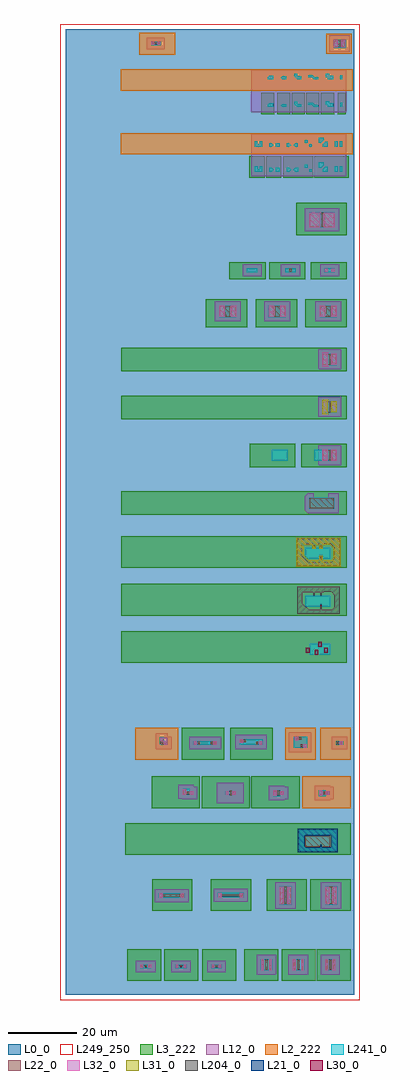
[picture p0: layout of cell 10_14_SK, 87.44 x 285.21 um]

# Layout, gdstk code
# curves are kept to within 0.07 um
from math import pi, radians
import gdstk
lib = gdstk.Library(unit=1e-6, precision=1e-09)
def R(c, l, rs):  # rectangles x0, y0, x1, y1
    for r in rs: c.add(gdstk.rectangle(r[:2], r[2:], *l))
def A(c, l, x, y, w, h, nx, ny, dx, dy):  # array of equal rectangles
    R(c, l, [(x+i*dx, y+j*dy, x+i*dx+w, y+j*dy+h) for i in range(nx) for j in range(ny)])
def P(c, l, *ps):  # polygons
    for p in ps: c.add(gdstk.Polygon(p, *l))
L0_0 = (0, 0)
L2_222 = (2, 222)
L3_222 = (3, 222)
L12_0 = (12, 0)
L21_0 = (21, 0)
L22_0 = (22, 0)
L30_0 = (30, 0)
L31_0 = (31, 0)
L32_0 = (32, 0)
L204_0 = (204, 0)
L241_0 = (241, 0)
L249_250 = (249, 250)

pcell_sdiode__121671724 = lib.new_cell('pcell_sdiode$$121671724')
R(pcell_sdiode__121671724, L0_0, [(-3.08,0,-1.68,3), (0.28,0,1.68,3)])
R(pcell_sdiode__121671724, L12_0, [(-4.48,-1.4,3.08,4.4)])
R(pcell_sdiode__121671724, L22_0, [(-1.4,0,0,3)])
R(pcell_sdiode__121671724, L32_0, [(-3.18,-0.1,-1.58,3.1), (0.18,-0.1,1.78,3.1)])
R(pcell_sdiode__121671724, L241_0, [(-3.24,-0.16,1.84,3.16)])

pcell_sdiode__121672748 = lib.new_cell('pcell_sdiode$$121672748')
A(pcell_sdiode__121672748, L0_0, -3.08, 0, 1.4, 3, 3, 1, 1.68, 0)
R(pcell_sdiode__121672748, L12_0, [(-4.48,-1.4,3.08,4.4)])
R(pcell_sdiode__121672748, L32_0, [(-3.18,-0.1,-1.58,3.1), (0.18,-0.1,1.78,3.1)])
R(pcell_sdiode__121672748, L241_0, [(-3.24,-0.16,1.84,3.16)])

pcell_sdiode__121673772 = lib.new_cell('pcell_sdiode$$121673772')
R(pcell_sdiode__121673772, L12_0, [(-4.48,-1.4,3.08,4.4)])
A(pcell_sdiode__121673772, L22_0, -3.08, 0, 1.4, 3, 3, 1, 1.68, 0)
R(pcell_sdiode__121673772, L32_0, [(-3.18,-0.1,-1.58,3.1), (0.18,-0.1,1.78,3.1)])
R(pcell_sdiode__121673772, L241_0, [(-3.24,-0.16,1.84,3.16)])

pcell_sdiode__121674796 = lib.new_cell('pcell_sdiode$$121674796')
R(pcell_sdiode__121674796, L0_0, [(-4.06,-0.16,3.44,4.16)])
R(pcell_sdiode__121674796, L12_0, [(-5.3,-1.4,4.68,5.4)])
R(pcell_sdiode__121674796, L22_0, [(-3.9,0,-0.9,4), (-0.62,0,0,4), (0.28,0,3.28,4)])
R(pcell_sdiode__121674796, L32_0, [(-4,-0.1,-0.8,4.1), (0.18,-0.1,3.38,4.1)])

pcell_sdiode__121675820 = lib.new_cell('pcell_sdiode$$121675820')
R(pcell_sdiode__121675820, L0_0, [(-0.62,0,0,0.8)])
R(pcell_sdiode__121675820, L12_0, [(-3.1,-1.4,2.48,2.2)])
R(pcell_sdiode__121675820, L22_0, [(-1.7,0,-0.9,0.8), (0.28,0,1.08,0.8)])
R(pcell_sdiode__121675820, L32_0, [(-1.8,-0.1,-0.8,0.9), (0.18,-0.1,1.18,0.9)])
R(pcell_sdiode__121675820, L241_0, [(-1.86,-0.16,1.24,0.96)])

pcell_sdiode__121676844 = lib.new_cell('pcell_sdiode$$121676844')
R(pcell_sdiode__121676844, L0_0, [(-1.8,-0.1,-0.8,0.9), (0.18,-0.1,1.18,0.9), (-1.7,0,-0.9,0.8), (0.28,0,1.08,0.8)])
R(pcell_sdiode__121676844, L12_0, [(-3.1,-1.4,2.48,2.2)])
R(pcell_sdiode__121676844, L22_0, [(-0.62,0,0,0.8)])
R(pcell_sdiode__121676844, L241_0, [(-1.86,-0.16,1.24,0.96)])

pcell_sdiode__121677868 = lib.new_cell('pcell_sdiode$$121677868')
R(pcell_sdiode__121677868, L0_0, [(-1.8,-0.1,-0.8,0.9), (0.18,-0.1,1.18,0.9), (-1.7,0,-0.9,0.8), (-0.62,0,0,0.8), (0.28,0,1.08,0.8)])
R(pcell_sdiode__121677868, L12_0, [(-3.1,-1.4,2.48,2.2)])
R(pcell_sdiode__121677868, L241_0, [(-1.86,-0.16,1.24,0.96)])

pcell_sdiode__121678892 = lib.new_cell('pcell_sdiode$$121678892')
R(pcell_sdiode__121678892, L12_0, [(-3.7,-1.4,3.08,4.4)])
R(pcell_sdiode__121678892, L22_0, [(-2.3,0,-0.9,3), (-0.62,0,0,3), (0.28,0,1.68,3)])
R(pcell_sdiode__121678892, L32_0, [(-2.4,-0.1,-0.8,3.1), (0.18,-0.1,1.78,3.1)])
R(pcell_sdiode__121678892, L241_0, [(-2.46,-0.16,1.84,3.16)])

pcell_sdiode__121679916 = lib.new_cell('pcell_sdiode$$121679916')
R(pcell_sdiode__121679916, L12_0, [(-2.02,-1.4,2.48,2.2)])
R(pcell_sdiode__121679916, L22_0, [(-0.62,0,0,0.8), (0.28,0,1.08,0.8)])
R(pcell_sdiode__121679916, L32_0, [(0.18,-0.1,1.18,0.9)])
R(pcell_sdiode__121679916, L241_0, [(-0.78,-0.16,1.24,0.96)])

pcell_sdiode__121680940 = lib.new_cell('pcell_sdiode$$121680940')
R(pcell_sdiode__121680940, L12_0, [(-2.02,-1.7,2.48,2.5)])
R(pcell_sdiode__121680940, L22_0, [(0.28,-0.3,1.08,1.1), (-0.62,0,0,0.8)])
R(pcell_sdiode__121680940, L32_0, [(0.18,-0.4,1.18,1.2)])
R(pcell_sdiode__121680940, L241_0, [(-0.78,-0.46,1.24,1.26)])

pcell_sdiode__121681964 = lib.new_cell('pcell_sdiode$$121681964')
R(pcell_sdiode__121681964, L12_0, [(-2.02,-1.4,2.48,2.8)])
R(pcell_sdiode__121681964, L22_0, [(-0.62,0,0,1.4), (0.28,0,1.08,1.4)])
R(pcell_sdiode__121681964, L32_0, [(0.18,-0.1,1.18,1.5)])
R(pcell_sdiode__121681964, L241_0, [(-0.78,-0.16,1.24,1.56)])

pcell_sdiode__121682988 = lib.new_cell('pcell_sdiode$$121682988')
R(pcell_sdiode__121682988, L12_0, [(-2.02,-1.1,2.48,2.5)])
R(pcell_sdiode__121682988, L22_0, [(-0.62,0,0,1.4), (0.28,0.3,1.08,1.1)])
R(pcell_sdiode__121682988, L32_0, [(0.18,0.2,1.18,1.2)])
R(pcell_sdiode__121682988, L241_0, [(-0.78,0.14,1.24,1.26)])

pcell_sdiode__121684012 = lib.new_cell('pcell_sdiode$$121684012')
R(pcell_sdiode__121684012, L0_0, [(-0.62,0,0,0.8)])
R(pcell_sdiode__121684012, L12_0, [(-2.02,-1.7,2.48,2.5)])
R(pcell_sdiode__121684012, L22_0, [(0.28,-0.3,1.08,1.1)])
R(pcell_sdiode__121684012, L32_0, [(0.18,-0.4,1.18,1.2)])
R(pcell_sdiode__121684012, L241_0, [(-0.78,-0.46,1.24,1.26)])

pcell_sdiode__121685036 = lib.new_cell('pcell_sdiode$$121685036')
R(pcell_sdiode__121685036, L12_0, [(-3.295,-1.4,2.68,6.4)])
R(pcell_sdiode__121685036, L22_0, [(-1.895,0,-0.895,5), (-0.615,0,0,5), (0.28,0,1.28,5)])
R(pcell_sdiode__121685036, L32_0, [(-1.995,-0.1,-0.795,5.1), (0.18,-0.1,1.38,5.1)])
R(pcell_sdiode__121685036, L241_0, [(-2.055,-0.16,1.44,5.16)])

pcell_sdiode__121595948 = lib.new_cell('pcell_sdiode$$121595948')
R(pcell_sdiode__121595948, L12_0, [(-3.305,-1.4,2.68,6.4)])
R(pcell_sdiode__121595948, L22_0, [(-1.905,0,-0.905,5), (-0.625,0,0,5), (0.28,0,1.28,5)])
R(pcell_sdiode__121595948, L32_0, [(-2.005,-0.1,-0.805,5.1), (0.18,-0.1,1.38,5.1)])
R(pcell_sdiode__121595948, L241_0, [(-2.065,-0.16,1.44,5.16)])

pcell_sdiode__121596972 = lib.new_cell('pcell_sdiode$$121596972')
R(pcell_sdiode__121596972, L12_0, [(-7.48,-1.593,2.48,2.207)])
R(pcell_sdiode__121596972, L22_0, [(-6.08,-0.193,-5.28,0.807), (0.28,-0.193,1.08,0.807), (-5,0,0,0.615)])
R(pcell_sdiode__121596972, L32_0, [(-6.18,-0.293,-5.18,0.907), (0.18,-0.293,1.18,0.907)])
R(pcell_sdiode__121596972, L241_0, [(-6.24,-0.353,1.24,0.967)])

pcell_sdiode__121597996 = lib.new_cell('pcell_sdiode$$121597996')
R(pcell_sdiode__121597996, L12_0, [(-7.48,-1.588,2.48,2.212)])
R(pcell_sdiode__121597996, L22_0, [(-6.08,-0.188,-5.28,0.812), (0.28,-0.188,1.08,0.812), (-5,0,0,0.625)])
R(pcell_sdiode__121597996, L32_0, [(-6.18,-0.288,-5.18,0.912), (0.18,-0.288,1.18,0.912)])
R(pcell_sdiode__121597996, L241_0, [(-6.24,-0.348,1.24,0.972)])

pcell_sdiode__121599020 = lib.new_cell('pcell_sdiode$$121599020')
R(pcell_sdiode__121599020, L12_0, [(-3.3,-1.4,2.68,3.4)])
R(pcell_sdiode__121599020, L22_0, [(-1.9,0,-0.9,2), (-0.62,0,0,2), (0.28,0,1.28,2)])
R(pcell_sdiode__121599020, L32_0, [(-2,-0.1,-0.8,2.1), (0.18,-0.1,1.38,2.1)])
R(pcell_sdiode__121599020, L241_0, [(-2.06,-0.16,1.44,2.16)])

pcell_sdiode__121600044 = lib.new_cell('pcell_sdiode$$121600044')
R(pcell_sdiode__121600044, L12_0, [(-2.92,-1.4,2.3,2.02)])
A(pcell_sdiode__121600044, L22_0, -1.52, 0, 0.62, 0.62, 3, 1, 0.9, 0)
R(pcell_sdiode__121600044, L32_0, [(-1.62,-0.1,-0.8,0.72), (0.18,-0.1,1,0.72)])
R(pcell_sdiode__121600044, L241_0, [(-1.68,-0.16,1.06,0.78)])

pcell_sdiode__121601068 = lib.new_cell('pcell_sdiode$$121601068')
R(pcell_sdiode__121601068, L12_0, [(-3.04,-1.4,2.42,4.4)])
A(pcell_sdiode__121601068, L22_0, -1.64, 0, 0.62, 3, 3, 1, 1.02, 0)
R(pcell_sdiode__121601068, L32_0, [(-1.74,-0.1,-0.92,3.1), (0.3,-0.1,1.12,3.1)])
R(pcell_sdiode__121601068, L241_0, [(-1.8,-0.16,1.18,3.16)])

pcell_sdiode__121602092 = lib.new_cell('pcell_sdiode$$121602092')
R(pcell_sdiode__121602092, L12_0, [(-3.2,-1.4,2.58,4.4)])
A(pcell_sdiode__121602092, L22_0, -1.8, 0, 0.62, 3, 3, 1, 1.18, 0)
R(pcell_sdiode__121602092, L32_0, [(-1.9,-0.1,-1.08,3.1), (0.46,-0.1,1.28,3.1)])
R(pcell_sdiode__121602092, L241_0, [(-1.96,-0.16,1.34,3.16)])

pcell_sdiode__121603116 = lib.new_cell('pcell_sdiode$$121603116')
R(pcell_sdiode__121603116, L12_0, [(-3.04,-1.4,2.42,2.02)])
A(pcell_sdiode__121603116, L22_0, -1.64, 0, 0.62, 0.62, 3, 1, 1.02, 0)
R(pcell_sdiode__121603116, L32_0, [(-1.74,-0.1,-0.92,0.72), (0.3,-0.1,1.12,0.72)])
R(pcell_sdiode__121603116, L241_0, [(-1.8,-0.16,1.18,0.78)])

pcell_sdiode__121604140 = lib.new_cell('pcell_sdiode$$121604140')
R(pcell_sdiode__121604140, L12_0, [(-3.2,-1.4,2.58,2.02)])
A(pcell_sdiode__121604140, L22_0, -1.8, 0, 0.62, 0.62, 3, 1, 1.18, 0)
R(pcell_sdiode__121604140, L32_0, [(-1.9,-0.1,-1.08,0.72), (0.46,-0.1,1.28,0.72)])
R(pcell_sdiode__121604140, L241_0, [(-1.96,-0.16,1.34,0.78)])

pcell_sdiode__121605164 = lib.new_cell('pcell_sdiode$$121605164')
R(pcell_sdiode__121605164, L12_0, [(-3.21,-1.4,2.59,4.4)])
A(pcell_sdiode__121605164, L22_0, -1.81, 0, 0.62, 3, 3, 1, 1.19, 0)
R(pcell_sdiode__121605164, L32_0, [(-1.91,-0.1,-1.09,3.1), (0.47,-0.1,1.29,3.1)])
R(pcell_sdiode__121605164, L241_0, [(-1.97,-0.16,1.35,3.16)])

pcell_sdiode__121606188 = lib.new_cell('pcell_sdiode$$121606188')
R(pcell_sdiode__121606188, L12_0, [(-3.21,-1.4,2.59,2.02)])
A(pcell_sdiode__121606188, L22_0, -1.81, 0, 0.62, 0.62, 3, 1, 1.19, 0)
R(pcell_sdiode__121606188, L32_0, [(-1.91,-0.1,-1.09,0.72), (0.47,-0.1,1.29,0.72)])
R(pcell_sdiode__121606188, L241_0, [(-1.97,-0.16,1.35,0.78)])

lay_width_mk__121608236 = lib.new_cell('LAY_width_mk$$121608236')
R(lay_width_mk__121608236, L241_0, [(-0.6,0,0,1.2)])
P(lay_width_mk__121608236, L241_0, [(-4.226,0),(-4.226,0.6),(-4.826,0.6),(-4.826,1.626),(-3.8,1.626),(-3.8,1.026),(-2.6,1.026),(-2.6,0)],
  [(-13.2,0),(-14.052,0.852),(-14.052,1.572),(-13.2,1.572),(-13.2,0.852),(-12,0.852),(-12,0)],
  [(-17.6,0),(-18.026,0.426),(-17.6,0.852),(-16.4,0.852),(-16.4,0)],
  [(-21.826,0),(-21.826,0.6),(-21.4,1.026),(-20.2,1.026),(-20.2,0)])
lay_width_mk__121608236.add(gdstk.FlexPath([(-7,0.3),(-8.2,0.3),(-8.8,0.9),(-10,0.9)], 0.6, ends="flush", simple_path=True, layer=241, datatype=0))  # L241_0

lay_width_mk__121609260 = lib.new_cell('LAY_width_mk$$121609260')
R(lay_width_mk__121609260, L241_0, [(-0.595,0,0,1.19)])
P(lay_width_mk__121609260, L241_0, [(-4.207,0),(-4.207,0.595),(-4.802,0.595),(-4.802,1.612),(-3.785,1.612),(-3.785,1.017),(-2.595,1.017),(-2.595,0)],
  [(-13.14,0),(-13.985,0.845),(-13.985,1.559),(-13.14,1.559),(-13.14,0.845),(-11.95,0.845),(-11.95,0)],
  [(-17.52,0),(-17.942,0.422),(-17.52,0.845),(-16.33,0.845),(-16.33,0)],
  [(-21.727,0),(-21.727,0.595),(-21.305,1.017),(-20.115,1.017),(-20.115,0)])
lay_width_mk__121609260.add(gdstk.FlexPath([(-6.975,0.298),(-8.165,0.298),(-8.76,0.893),(-9.95,0.893)], 0.596, ends="flush", simple_path=True, layer=241, datatype=0))  # L241_0

lay_space_mk__121611308 = lib.new_cell('LAY_space_mk$$121611308')
R(lay_space_mk__121611308, L241_0, [(-19.434,0,-18.298,1.136), (-9.736,0,-8.936,0.8), (-2.2,0,-1.4,1.6), (-0.8,0,0,1.6), (-10.962,1.226,-10.162,2.026)])
P(lay_space_mk__121611308, L241_0, [(-5.71,0),(-5.71,0.8),(-5,1.51),(-4.2,1.51),(-4.2,0)],
  [(-6.936,1.226),(-6.936,2.736),(-5.426,2.736),(-5.426,1.936),(-6.136,1.226)],
  [(-13.762,0),(-14.33,0.568),(-13.762,1.136),(-12.962,1.136),(-12.962,0)],
  [(-16.298,0),(-16.298,1.136),(-15.498,1.136),(-14.93,0.568),(-15.498,0)],
  [(-21.402,0),(-21.402,1.136),(-20.602,1.136),(-20.034,0.568),(-20.602,0)],
  [(-25.602,0),(-25.602,1.6),(-24.802,1.6),(-24.802,0.8),(-24.202,0.8),(-24.202,1.6),(-23.402,1.6),(-23.402,0)])

lay_space_mk__121514028 = lib.new_cell('LAY_space_mk$$121514028')
R(lay_space_mk__121514028, L241_0, [(-19.417,0,-18.281,1.136), (-9.727,0,-8.927,0.8), (-2.195,0,-1.395,1.6), (-0.8,0,0,1.6), (-10.95,1.222,-10.15,2.022)])
P(lay_space_mk__121514028, L241_0, [(-5.705,0),(-5.705,0.8),(-4.995,1.51),(-4.195,1.51),(-4.195,0)],
  [(-6.927,1.222),(-6.927,2.732),(-5.417,2.732),(-5.417,1.932),(-6.127,1.222)],
  [(-13.75,0),(-14.318,0.568),(-13.75,1.136),(-12.95,1.136),(-12.95,0)],
  [(-16.281,0),(-16.281,1.136),(-15.481,1.136),(-14.913,0.568),(-15.481,0)],
  [(-21.38,0),(-21.38,1.136),(-20.58,1.136),(-20.012,0.568),(-20.58,0)],
  [(-25.575,0),(-25.575,1.6),(-24.775,1.6),(-24.775,0.8),(-24.18,0.8),(-24.18,1.6),(-23.38,1.6),(-23.38,0)])

schottky_diode = lib.new_cell('Schottky_diode')
A(schottky_diode, L0_0, -84.44, -245.96, 84.44, 3.89, 1, 3, 0, 14.03)
A(schottky_diode, L0_0, -84.44, -214.015, 15, 10.14, 1, 10, 0, 14.03)
A(schottky_diode, L0_0, -84.44, -203.875, 84.44, 3.89, 1, 10, 0, 14.03)
A(schottky_diode, L0_0, -84.44, -73.715, 15, 6.48, 1, 4, 0, 18.52)
A(schottky_diode, L0_0, -84.44, -67.235, 84.44, 3.89, 1, 4, 0, 18.52)
A(schottky_diode, L0_0, -84.44, -63.345, 15, 8.15, 1, 3, 0, 18.52)
R(schottky_diode, L0_0, [(-84.44,-282.21,-69.44,-266.03), (-69.44,-282.21,0,-266.03), (-84.44,-266.03,0,-262.14), (-84.44,-262.14,-69.44,-245.96), (-69.44,-262.14,0,-245.96), (-84.44,-242.07,-69.44,-231.93), (-69.44,-242.07,0,-231.93), (-69.44,-242.07,0,-231.93), (-14.62,-239.175,-14.18,-238.745), (-10.16,-239.125,-9.43,-238.3), (-10.16,-235.815,-9.48,-235.485), (-12.14,-235.77,-11.505,-235.53), (-84.44,-228.04,-69.44,-217.9), (-69.44,-228.04,0,-217.9), (-69.44,-228.04,0,-217.9), (-69.44,-214.015,0,-203.875), (-69.44,-214.015,0,-203.875), (-69.44,-199.985,0,-189.845), (-69.44,-199.985,0,-189.845), (-69.44,-185.955,0,-175.815), (-69.44,-185.955,0,-175.815), (-69.44,-171.925,0,-161.785), (-69.44,-171.925,0,-161.785), (-14.62,-169.03,-14.18,-168.6), (-10.16,-168.98,-9.43,-168.155), (-10.16,-165.67,-9.48,-165.34), (-12.14,-165.625,-11.505,-165.385), (-69.44,-157.895,0,-147.755), (-69.44,-157.895,0,-147.755), (-14.62,-155,-14.18,-154.57), (-10.13,-154.94,-9.445,-154.05), (-10.225,-151.66,-9.425,-151.34), (-12.245,-151.64,-11.43,-151.38), (-69.44,-143.865,0,-133.725), (-69.44,-143.865,0,-133.725), (-11.29,-141.435,-9.55,-140.04), (-9.64,-137.615,-7.61,-136.99), (-11.88,-137.1,-9.555,-136.99), (-69.44,-129.835,0,-119.695), (-69.44,-129.835,0,-119.695), (-69.44,-115.805,0,-105.665), (-69.44,-115.805,0,-105.665), (-69.44,-101.775,0,-91.635), (-69.44,-101.775,0,-91.635), (-69.44,-87.745,0,-77.605), (-69.44,-87.745,0,-77.605), (-6.965,-84.005,-6.925,-80.94), (-23.6,-83.58,-23.55,-82.98), (-8.65,-83.58,-8.335,-82.98), (-23.33,-83.285,-23.275,-80.96), (-37.925,-82.715,-37.86,-81.775), (-23.605,-82.285,-23.565,-81.56), (-8.375,-82.285,-8.335,-81.56), (-69.44,-73.715,0,-67.235), (-69.44,-73.715,0,-67.235), (-69.44,-63.345,0,-48.715), (-10.375,-57.895,-9.72,-57.87), (-7.735,-57.895,-6.81,-57.865), (-10.345,-53.96,-10.005,-53.665), (-9.81,-53.96,-9.47,-53.665), (-12.64,-53.735,-11.49,-53.715), (-69.44,-44.825,0,-36.675), (-69.44,-36.675,0,-30.195), (-69.44,-36.675,0,-30.195), (-69.44,-26.305,0,-18.155), (-69.44,-18.155,0,-11.675), (-69.44,-18.155,0,-11.675), (-84.44,-7.785,0,0)])
P(schottky_diode, L0_0, [(-6.96,-111.23),(-6.96,-109.315),(-6.94,-109.315),(-6.94,-109.815),(-6.895,-109.815),(-6.895,-110.3),(-6.81,-110.3),(-6.81,-110.77),(-6.795,-110.77),(-6.795,-111.23)],
  [(-6.96,-97.36),(-6.96,-95.445),(-6.94,-95.445),(-6.94,-95.945),(-6.895,-95.945),(-6.895,-96.43),(-6.81,-96.43),(-6.81,-96.9),(-6.795,-96.9),(-6.795,-97.36)])
R(schottky_diode, L2_222, [(-15.26,-227.633,-1.096,-218.348), (-64.057,-213.486,-51.534,-204.201), (-20.234,-213.486,-11.325,-204.201), (-10.005,-213.486,-1.096,-204.201), (-68.304,-36.623,-0.48,-30.392), (-68.304,-18.012,-0.48,-11.781), (-62.959,-7.468,-52.314,-1.055), (-8.268,-7.15,-0.748,-1.342)])
A(schottky_diode, L3_222, -30.708, -43.432, 4.42, 6.231, 3, 1, 4.918, 0)
R(schottky_diode, L3_222, [(-66.422,-278.128,-56.468,-268.843), (-55.659,-278.128,-45.705,-268.843), (-44.535,-278.128,-34.581,-268.843), (-32.16,-278.128,-22.206,-268.843), (-21.286,-278.128,-11.332,-268.843), (-11.05,-278.128,-1.096,-268.843), (-59.156,-257.689,-47.36,-248.404), (-42.006,-257.689,-30.21,-248.404), (-25.681,-257.689,-13.885,-248.404), (-12.892,-257.689,-1.096,-248.404), (-66.931,-241.31,-1.096,-232.025), (-59.314,-227.633,-45.15,-218.348), (-44.698,-227.633,-30.534,-218.348), (-30.185,-227.633,-16.021,-218.348), (-50.517,-213.486,-37.994,-204.201), (-36.345,-213.486,-23.822,-204.201), (-68.087,-185.168,-2.252,-175.883), (-68.087,-171.407,-2.252,-162.122), (-68.087,-157.44,-2.252,-148.155), (-68.087,-141.908,-2.252,-135.078), (-30.573,-127.974,-17.303,-121.144), (-15.522,-127.974,-2.252,-121.144), (-68.087,-113.958,-2.252,-107.128), (-68.087,-99.977,-2.252,-93.147), (-43.472,-87.104,-31.286,-78.944), (-28.851,-87.104,-16.665,-78.944), (-14.438,-87.104,-2.252,-78.944), (-36.548,-73.096,-25.986,-68.111), (-24.912,-73.096,-14.35,-68.111), (-12.814,-73.096,-2.252,-68.111), (-17.065,-60.302,-2.252,-50.805), (-16.421,-43.432,-12.001,-37.201), (-11.696,-43.432,-7.276,-37.201), (-7.018,-43.432,-1.617,-37.201), (-27.272,-24.821,-23.41,-18.59), (-22.6,-24.821,-18.738,-18.59), (-18.361,-24.821,-14.499,-18.59), (-14.165,-24.821,-10.303,-18.59), (-9.796,-24.821,-5.934,-18.59), (-4.913,-24.821,-2.601,-18.59)])
R(schottky_diode, L12_0, [(-40.315,-226.185,-32.41,-220.225), (-19.17,-211.245,-12.585,-205.49), (-48.1,-210.41,-39.165,-206.81), (-34.825,-210.41,-25.58,-206.255), (-30.1,-42.98,-2.41,-30.61), (-30.1,-24.3,-2.41,-11.93)])
P(schottky_diode, L12_0, [(-13.7,-141.44),(-14.505,-140.635),(-14.505,-136.48),(-13.665,-135.64),(-11.84,-135.64),(-11.84,-137.04),(-9.585,-137.04),(-9.585,-137.585),(-7.65,-137.585),(-7.65,-135.64),(-4.625,-135.64),(-4.625,-141.44)])
P(schottky_diode, L21_0, [(-16.515,-240.565),(-16.515,-233.68),(-14.57,-233.68),(-14.57,-238.825),(-14.25,-239.145),(-10.025,-239.145),(-10.025,-238.36),(-9.565,-238.36),(-9.565,-239.145),(-6.94,-239.145),(-6.85,-239.055),(-6.85,-235.605),(-6.95,-235.505),(-9.565,-235.505),(-9.565,-235.66),(-10.025,-235.66),(-10.025,-235.505),(-11.58,-235.505),(-11.58,-235.665),(-12.04,-235.665),(-12.04,-235.505),(-14.57,-235.505),(-14.57,-233.68),(-4.915,-233.68),(-4.915,-240.565)])
R(schottky_diode, L22_0, [(-14.41,-238.985,-7.01,-235.665), (-13.105,-140.04,-6.025,-137.04), (-21.625,-83.985,-20.22,-80.985), (-6.665,-83.985,-5.27,-80.985), (-23.58,-83.55,-23.56,-82.99), (-8.63,-83.55,-8.61,-82.99), (-38,-82.655,-37.72,-81.8)])
P(schottky_diode, L22_0, [(-10.03,-83.985),(-10.03,-80.985),(-8.63,-80.985),(-8.63,-81.57),(-8.635,-81.57),(-8.635,-82.27),(-8.63,-82.27),(-8.63,-83.985)],
  [(-24.98,-83.985),(-24.98,-80.985),(-23.58,-80.985),(-23.58,-81.57),(-23.585,-81.57),(-23.585,-82.27),(-23.58,-82.27),(-23.58,-83.985)],
  [(-23.3,-83.985),(-23.3,-83.265),(-23.295,-83.265),(-23.295,-81.91),(-23.305,-81.91),(-23.305,-80.985),(-21.9,-80.985),(-21.9,-83.985)],
  [(-16.76,-156.83),(-16.76,-148.915),(-15.21,-148.915),(-15.21,-154.01),(-13.61,-155.61),(-10.025,-155.61),(-10.025,-154.185),(-9.565,-154.185),(-9.565,-155.61),(-6.67,-155.61),(-5.84,-154.78),(-5.84,-151.535),(-6.8,-150.575),(-9.565,-150.58),(-9.565,-151.485),(-10.025,-151.485),(-10.025,-150.575),(-11.58,-150.575),(-11.58,-151.49),(-12.04,-151.49),(-12.04,-150.575),(-15.21,-150.575),(-15.21,-148.915),(-4.3,-148.915),(-4.3,-156.83)])
R(schottky_diode, L30_0, [(-11.64,-182.87,-10.585,-181.405), (-14.18,-182.23,-13.125,-180.765), (-8.805,-182.23,-7.75,-180.765), (-10.6,-180.435,-9.545,-178.97)])
P(schottky_diode, L31_0, [(-9.35,-112.565),(-9.35,-108.23),(-7.685,-108.23),(-7.685,-108.77),(-7.75,-108.835),(-7.75,-111.925),(-7.67,-112.005),(-7.67,-112.565)],
  [(-6.77,-111.985),(-6.77,-111.7),(-6.79,-111.7),(-6.79,-111.225),(-6.795,-111.225),(-6.795,-110.775),(-6.82,-110.775),(-6.82,-110.31),(-6.9,-110.31),(-6.9,-109.82),(-6.95,-109.82),(-6.95,-109.33),(-6.77,-109.33),(-6.77,-108.785),(-5.17,-108.785),(-5.17,-111.985)],
  [(-17.06,-157.13),(-17.06,-148.615),(-14.795,-148.615),(-14.795,-153.771),(-13.381,-155.185),(-10.325,-155.185),(-10.325,-153.885),(-9.265,-153.885),(-9.265,-155.185),(-6.669,-155.185),(-6.14,-154.656),(-6.14,-151.654),(-6.919,-150.875),(-9.265,-150.88),(-9.265,-151.785),(-10.325,-151.785),(-10.325,-150.875),(-11.28,-150.875),(-11.28,-151.79),(-12.34,-151.79),(-12.34,-150.875),(-14.795,-150.875),(-14.795,-148.615),(-4,-148.615),(-4,-157.13)])
R(schottky_diode, L32_0, [(-25.08,-84.085,-23.46,-80.885), (-8.53,-84.085,-8.51,-80.885)])
P(schottky_diode, L32_0, [(-6.77,-98.115),(-6.77,-97.83),(-6.79,-97.83),(-6.79,-97.355),(-6.795,-97.355),(-6.795,-96.905),(-6.82,-96.905),(-6.82,-96.44),(-6.9,-96.44),(-6.9,-95.95),(-6.95,-95.95),(-6.95,-95.46),(-6.77,-95.46),(-6.77,-94.915),(-5.17,-94.915),(-5.17,-98.115)],
  [(-9.35,-98.695),(-9.35,-94.36),(-7.685,-94.36),(-7.685,-94.9),(-7.75,-94.965),(-7.75,-98.055),(-7.67,-98.135),(-7.67,-98.695)],
  [(-55.715,-209.11),(-55.715,-208.03),(-56.795,-208.03),(-56.795,-207.03),(-54.715,-207.03),(-54.715,-209.11)])
P(schottky_diode, L204_0, [(-16.76,-170.86),(-16.76,-162.945),(-15.31,-162.945),(-15.31,-167.71),(-13.28,-169.74),(-10.025,-169.74),(-10.025,-168.215),(-9.565,-168.215),(-9.565,-169.74),(-6.63,-169.74),(-5.84,-168.95),(-5.84,-165.42),(-6.655,-164.605),(-9.565,-164.61),(-9.565,-165.515),(-10.025,-165.515),(-10.025,-164.605),(-11.58,-164.605),(-11.58,-165.52),(-12.04,-165.52),(-12.04,-164.605),(-15.31,-164.605),(-15.31,-162.945),(-4.3,-162.945),(-4.3,-170.86)])
R(schottky_diode, L241_0, [(-16.145,-240.23,-5.23,-234.025), (-17.72,-210.005,-13.825,-206.73), (-45.875,-209.17,-41.335,-208.05), (-33.585,-209.17,-26.82,-207.495), (-13.125,-182.87,-7.01,-179.55), (-14.41,-168.84,-7.01,-165.52), (-14.41,-154.81,-7.01,-151.49), (-13.265,-140.2,-5.865,-136.88), (-24.105,-126.17,-19.515,-122.85), (-11.715,-126.17,-7.125,-122.85)])
P(schottky_diode, L241_0, [(-13.22,-57.885),(-13.22,-53.565),(-12.635,-53.565),(-12.635,-53.725),(-11.5,-53.725),(-11.5,-53.565),(-10.245,-53.565),(-10.245,-53.895),(-9.505,-53.895),(-9.505,-53.565),(-5.82,-53.565),(-5.72,-53.665),(-5.72,-57.795),(-5.81,-57.885)])
schottky_diode.add(gdstk.FlexPath([(-5.76,-53.605),(-5.895,-53.74)], 0.04, ends="flush", simple_path=True, layer=0, datatype=0))  # L0_0
schottky_diode.add(gdstk.FlexPath([(-7.535,-97.985),(-7.69,-98.14)], 0.1, ends="flush", simple_path=True, layer=0, datatype=0))  # L0_0
schottky_diode.add(gdstk.FlexPath([(-7.535,-111.855),(-7.69,-112.01)], 0.1, ends="flush", simple_path=True, layer=0, datatype=0))  # L0_0
schottky_diode.add(gdstk.FlexPath([(-13.025,-137.11),(-14.165,-135.97)], 0.2, ends="flush", simple_path=True, layer=0, datatype=0))  # L0_0
schottky_diode.add(gdstk.FlexPath([(-7.04,-151.52),(-6.43,-150.91)], 0.1, ends="flush", simple_path=True, layer=0, datatype=0))  # L0_0
schottky_diode.add(gdstk.FlexPath([(-7.04,-165.55),(-6.43,-164.94)], 0.1, ends="flush", simple_path=True, layer=0, datatype=0))  # L0_0
schottky_diode.add(gdstk.FlexPath([(-7.04,-235.695),(-6.88,-235.535)], 0.1, ends="flush", simple_path=True, layer=0, datatype=0))  # L0_0
schottky_diode.add(gdstk.Reference(pcell_sdiode__121671724, (-6.95,-83.985)))
schottky_diode.add(gdstk.Reference(pcell_sdiode__121672748, (-21.9,-83.985)))
schottky_diode.add(gdstk.Reference(pcell_sdiode__121673772, (-36.32,-83.985)))
schottky_diode.add(gdstk.Reference(pcell_sdiode__121674796, (-9.16,-57.725)))
schottky_diode.add(gdstk.Reference(pcell_sdiode__121675820, (-6.95,-70.86)))
schottky_diode.add(gdstk.Reference(pcell_sdiode__121676844, (-18.375,-70.86)))
schottky_diode.add(gdstk.Reference(pcell_sdiode__121677868, (-29.595,-70.86)))
schottky_diode.add(gdstk.Reference(pcell_sdiode__121678892, (-6.95,-98.015)))
schottky_diode.add(gdstk.Reference(pcell_sdiode__121678892, (-6.95,-111.885)))
schottky_diode.add(gdstk.Reference(pcell_sdiode__121678892, (-6.95,-126.01)))
schottky_diode.add(gdstk.Reference(pcell_sdiode__121679916, (-4.555,-209.01)))
schottky_diode.add(gdstk.Reference(pcell_sdiode__121679916, (-41.445,-209.01)))
schottky_diode.add(gdstk.Reference(pcell_sdiode__121679916, (-45.845,-209.01), rotation=pi, x_reflection=True))
schottky_diode.add(gdstk.Reference(pcell_sdiode__121679916, (-28.06,-209.01)))
schottky_diode.add(gdstk.Reference(pcell_sdiode__121679916, (-32.345,-208.455), rotation=pi, x_reflection=True))
schottky_diode.add(gdstk.Reference(pcell_sdiode__121679916, (-15.065,-209.845)))
schottky_diode.add(gdstk.Reference(pcell_sdiode__121679916, (-16.24,-207.69), rotation=pi, x_reflection=True))
schottky_diode.add(gdstk.Reference(pcell_sdiode__121679916, (-8.545,-223.64)))
schottky_diode.add(gdstk.Reference(pcell_sdiode__121679916, (-21.895,-223.64)))
schottky_diode.add(gdstk.Reference(pcell_sdiode__121679916, (-35.89,-223.64)))
schottky_diode.add(gdstk.Reference(pcell_sdiode__121679916, (-48.355,-223.64)))
schottky_diode.add(gdstk.Reference(pcell_sdiode__121679916, (-56.695,-208.21), rotation=pi/2, x_reflection=True))
schottky_diode.add(gdstk.Reference(pcell_sdiode__121679916, (-55.895,-209.01)))
schottky_diode.add(gdstk.Reference(pcell_sdiode__121680940, (-9.165,-223.64), rotation=pi, x_reflection=True))
schottky_diode.add(gdstk.Reference(pcell_sdiode__121681964, (-22.515,-223.94), rotation=pi, x_reflection=True))
schottky_diode.add(gdstk.Reference(pcell_sdiode__121682988, (-36.51,-223.94), rotation=pi, x_reflection=True))
schottky_diode.add(gdstk.Reference(pcell_sdiode__121684012, (-48.975,-223.26), rotation=pi, x_reflection=True))
schottky_diode.add(gdstk.Reference(pcell_sdiode__121685036, (-6.54,-255.65)))
schottky_diode.add(gdstk.Reference(pcell_sdiode__121595948, (-19.84,-255.65)))
schottky_diode.add(gdstk.Reference(pcell_sdiode__121596972, (-33.665,-253.36)))
schottky_diode.add(gdstk.Reference(pcell_sdiode__121597996, (-50.91,-253.49)))
schottky_diode.add(gdstk.Reference(pcell_sdiode__121599020, (-4.05,-5.22)))
schottky_diode.add(gdstk.Reference(pcell_sdiode__121600044, (-57.72,-4.48)))
schottky_diode.add(gdstk.Reference(pcell_sdiode__121601068, (-6.76,-274.915)))
schottky_diode.add(gdstk.Reference(pcell_sdiode__121602092, (-16.085,-274.915)))
schottky_diode.add(gdstk.Reference(pcell_sdiode__121603116, (-39.995,-274.2)))
schottky_diode.add(gdstk.Reference(pcell_sdiode__121604140, (-50.38,-274.2)))
schottky_diode.add(gdstk.Reference(pcell_sdiode__121605164, (-25.4,-274.915)))
schottky_diode.add(gdstk.Reference(pcell_sdiode__121606188, (-60.67,-274.2)))
schottky_diode.add(gdstk.Reference(lay_width_mk__121608236, (-3.55,-14.64)))
schottky_diode.add(gdstk.Reference(lay_width_mk__121609260, (-3.55,-22.725)))
schottky_diode.add(gdstk.Reference(lay_space_mk__121611308, (-3.55,-34.43)))
schottky_diode.add(gdstk.Reference(lay_space_mk__121514028, (-3.55,-41.7)))
schottky_diode.add(gdstk.Label('SK.5_SK.14b_SK.17', (-57.304,-277.697), layer=11, texttype=222))
schottky_diode.add(gdstk.Label('SK.5_SK.14b_SK.17', (-46.541,-277.697), layer=11, texttype=222))
schottky_diode.add(gdstk.Label('SK.5_SK.14b_SK.17', (-35.417,-277.697), layer=11, texttype=222))
schottky_diode.add(gdstk.Label('SK.5_SK.14b_SK.17', (-23.042,-277.697), layer=11, texttype=222))
schottky_diode.add(gdstk.Label('SK.5_SK.14b_SK.17', (-12.168,-277.697), layer=11, texttype=222))
schottky_diode.add(gdstk.Label('SK.16', (-48.196,-257.258), layer=11, texttype=222))
schottky_diode.add(gdstk.Label('SK.16', (-31.046,-257.258), layer=11, texttype=222))
schottky_diode.add(gdstk.Label('SK.16', (-14.721,-257.258), layer=11, texttype=222))
schottky_diode.add(gdstk.Label('SK.5_SK.14b_SK.17', (-45.986,-227.202), layer=11, texttype=222))
schottky_diode.add(gdstk.Label('SK.5_SK.14b_SK.17', (-31.37,-227.202), layer=11, texttype=222))
schottky_diode.add(gdstk.Label('SK.5_SK.14b_SK.17', (-16.857,-227.202), layer=11, texttype=222))
schottky_diode.add(gdstk.Label('SK.14a', (-52.37,-213.055), layer=11, texttype=222))
schottky_diode.add(gdstk.Label('SK.14a', (-38.83,-213.055), layer=11, texttype=222))
schottky_diode.add(gdstk.Label('SK.14a', (-24.658,-213.055), layer=11, texttype=222))
schottky_diode.add(gdstk.Label('SK.14a', (-12.161,-213.055), layer=11, texttype=222))
schottky_diode.add(gdstk.Label('SK.8', (-18.139,-127.543), layer=11, texttype=222))
schottky_diode.add(gdstk.Label('SK.5_SK.14b_SK.17', (-32.122,-86.723), layer=11, texttype=222))
schottky_diode.add(gdstk.Label('SK.5_SK.14b_SK.17', (-17.501,-86.723), layer=11, texttype=222))
schottky_diode.add(gdstk.Label('SK.4', (-26.822,-72.665), layer=11, texttype=222))
schottky_diode.add(gdstk.Label('SK.4', (-15.186,-72.665), layer=11, texttype=222))
schottky_diode.add(gdstk.Label('SK.2', (-26.521,-43.059), layer=11, texttype=222))
schottky_diode.add(gdstk.Label('SK.2', (-21.603,-43.059), layer=11, texttype=222))
schottky_diode.add(gdstk.Label('SK.2', (-16.685,-43.059), layer=11, texttype=222))
schottky_diode.add(gdstk.Label('SK.2', (-12.234,-43.059), layer=11, texttype=222))
schottky_diode.add(gdstk.Label('SK.2', (-7.509,-43.059), layer=11, texttype=222))
schottky_diode.add(gdstk.Label('SK.1', (-23.812,-24.448), layer=11, texttype=222))
schottky_diode.add(gdstk.Label('SK.1', (-19.14,-24.448), layer=11, texttype=222))
schottky_diode.add(gdstk.Label('SK.1', (-14.901,-24.448), layer=11, texttype=222))
schottky_diode.add(gdstk.Label('SK.1', (-10.705,-24.448), layer=11, texttype=222))
schottky_diode.add(gdstk.Label('SK.1', (-6.336,-24.448), layer=11, texttype=222))
schottky_diode.add(gdstk.Label('SK.16', (-58.148,-7.087), layer=11, texttype=222))
schottky_diode.add(gdstk.Label('SK.15', (-57.826,-7.087), layer=11, texttype=222))
schottky_diode.add(gdstk.Label('SK.14a', (-57.426,-7.087), layer=11, texttype=222))
schottky_diode.add(gdstk.Label('SK.12', (-57.055,-7.087), layer=11, texttype=222))
schottky_diode.add(gdstk.Label('SK.7', (-55.505,-7.087), layer=11, texttype=222))
schottky_diode.add(gdstk.Label('SK.10', (-56.319,-7.087), layer=11, texttype=222))
schottky_diode.add(gdstk.Label('SK.11', (-56.671,-7.087), layer=11, texttype=222))
schottky_diode.add(gdstk.Label('SK.8', (-55.763,-7.087), layer=11, texttype=222))
schottky_diode.add(gdstk.Label('SK.9', (-56.041,-7.087), layer=11, texttype=222))
schottky_diode.add(gdstk.Label('SK.6', (-55.213,-7.087), layer=11, texttype=222))
schottky_diode.add(gdstk.Label('SK.2', (-53.366,-7.087), layer=11, texttype=222))
schottky_diode.add(gdstk.Label('SK.3', (-53.644,-7.087), layer=11, texttype=222))
schottky_diode.add(gdstk.Label('SK.4', (-53.922,-7.087), layer=11, texttype=222))
schottky_diode.add(gdstk.Label('SK.5_SK.14b_SK.17', (-54.2,-7.087), layer=11, texttype=222))
schottky_diode.add(gdstk.Label('SK.16', (-5.965,-7.087), layer=11, texttype=222))
schottky_diode.add(gdstk.Label('SK.7', (-3.322,-7.087), layer=11, texttype=222))
schottky_diode.add(gdstk.Label('SK.2', (-1.183,-7.087), layer=11, texttype=222))
schottky_diode.add(gdstk.Label('SK.3', (-1.461,-7.087), layer=11, texttype=222))
schottky_diode.add(gdstk.Label('SK.4', (-1.739,-7.087), layer=11, texttype=222))
schottky_diode.add(gdstk.Label('SK.5_SK.14b_SK.17', (-2.017,-7.087), layer=11, texttype=222))
schottky_diode.add(gdstk.Label('SK.6', (-3.03,-7.087), layer=11, texttype=222))
schottky_diode.add(gdstk.Label('SK.8', (-3.58,-7.087), layer=11, texttype=222))
schottky_diode.add(gdstk.Label('SK.9', (-3.858,-7.087), layer=11, texttype=222))
schottky_diode.add(gdstk.Label('SK.10', (-4.136,-7.087), layer=11, texttype=222))
schottky_diode.add(gdstk.Label('SK.11', (-4.488,-7.087), layer=11, texttype=222))
schottky_diode.add(gdstk.Label('SK.12', (-4.872,-7.087), layer=11, texttype=222))
schottky_diode.add(gdstk.Label('SK.1', (-53.09,-7.087), layer=11, texttype=222))
schottky_diode.add(gdstk.Label('SK.14a', (-5.243,-7.087), layer=11, texttype=222))
schottky_diode.add(gdstk.Label('SK.15', (-5.643,-7.087), layer=11, texttype=222))
schottky_diode.add(gdstk.Label('SK.1', (-0.907,-7.087), layer=11, texttype=222))
schottky_diode.add(gdstk.Label('SK.5_SK.14b_SK.17', (-1.932,-277.697), layer=11, texttype=222))
schottky_diode.add(gdstk.Label('SK.16', (-1.932,-257.258), layer=11, texttype=222))
schottky_diode.add(gdstk.Label('SK.15', (-1.932,-240.879), layer=11, texttype=222))
schottky_diode.add(gdstk.Label('SK.5_SK.14b_SK.17', (-1.932,-227.202), layer=11, texttype=222))
schottky_diode.add(gdstk.Label('SK.14a', (-1.932,-213.055), layer=11, texttype=222))
schottky_diode.add(gdstk.Label('SK.12', (-3.088,-184.737), layer=11, texttype=222))
schottky_diode.add(gdstk.Label('SK.11', (-3.088,-170.976), layer=11, texttype=222))
schottky_diode.add(gdstk.Label('SK.10', (-3.088,-157.009), layer=11, texttype=222))
schottky_diode.add(gdstk.Label('SK.9', (-3.088,-141.477), layer=11, texttype=222))
schottky_diode.add(gdstk.Label('SK.8', (-3.088,-127.543), layer=11, texttype=222))
schottky_diode.add(gdstk.Label('SK.7', (-3.088,-113.527), layer=11, texttype=222))
schottky_diode.add(gdstk.Label('SK.6', (-3.088,-99.546), layer=11, texttype=222))
schottky_diode.add(gdstk.Label('SK.5_SK.14b_SK.17', (-3.088,-86.723), layer=11, texttype=222))
schottky_diode.add(gdstk.Label('SK.4', (-3.088,-72.665), layer=11, texttype=222))
schottky_diode.add(gdstk.Label('SK.3', (-3.088,-59.871), layer=11, texttype=222))
schottky_diode.add(gdstk.Label('SK.2', (-0.907,-36.4), layer=11, texttype=222))
schottky_diode.add(gdstk.Label('SK.1', (-3.003,-24.448), layer=11, texttype=222))
schottky_diode.add(gdstk.Label('SK.1', (-0.907,-17.789), layer=11, texttype=222))
schottky_diode.add(gdstk.Label('SK.2', (-1.85,-43.059), layer=11, texttype=222))
schottky_diode.add(gdstk.Label('SK.4 Schottky diode shall need both cathode and anode to form a proper diode', (-1,-65.364), layer=58, texttype=0))
schottky_diode.add(gdstk.Label('SK.3  Min "Schottky_diode" marking layer overlap of schottky diode anode and cathode COMP = 0.16', (-1,-46.844), layer=58, texttype=0))
schottky_diode.add(gdstk.Label('3x', (-71.995,-70.374), layer=58, texttype=0))
schottky_diode.add(gdstk.Label('SK.2  Min "Schottky_diode" to "Schottky_diode" marking layer space = 0.6', (-1,-28.324), layer=58, texttype=0))
schottky_diode.add(gdstk.Label('5 ERRs', (-71.995,-58.489), layer=58, texttype=0))
schottky_diode.add(gdstk.Label('0 ERRs', (-71.995,-51.854), layer=58, texttype=0))
schottky_diode.add(gdstk.Label('Schotthy_diode', (-33.97,-3.74), layer=58, texttype=0))
schottky_diode.add(gdstk.Label('SK.1  Min "Schottky_diode" marking layer width = 0.6', (-1,-9.804), layer=58, texttype=0))
schottky_diode.add(gdstk.Label('6 ERRs', (-71.995,-21.449), layer=58, texttype=0))
schottky_diode.add(gdstk.Label('0 ERRs', (-71.995,-14.814), layer=58, texttype=0))
schottky_diode.add(gdstk.Label('0 ERRs', (-71.995,-33.334), layer=58, texttype=0))
schottky_diode.add(gdstk.Label('6 ERRs', (-71.995,-39.969), layer=58, texttype=0))
schottky_diode.add(gdstk.Label("SK.5 Min/Max schottky diode's anode COMP to cathode COMP space = 0.28", (-1,-75.734), layer=58, texttype=0))
schottky_diode.add(gdstk.Label('SK.6 2x', (-71.375,-86.164), layer=58, texttype=0))
schottky_diode.add(gdstk.Label('SK.6', (-23.4,-81.5), layer=58, texttype=0))
schottky_diode.add(gdstk.Label('2x', (-71.375,-271.034), layer=58, texttype=0))
schottky_diode.add(gdstk.Label('5x', (-71.375,-97.659), layer=58, texttype=0))
schottky_diode.add(gdstk.Label('SK.6 Schottky diode Anode COMP to Nplus space = 0.16', (-1,-89.764), layer=58, texttype=0))
schottky_diode.add(gdstk.Label('19x (Total)', (-71.375,-111.284), layer=58, texttype=0))
schottky_diode.add(gdstk.Label('SK.7 Schottky diode Anode COMP to Pplus space = 0.16', (-1,-103.794), layer=58, texttype=0))
schottky_diode.add(gdstk.Label('(This is for model accuracy of schottky diode)', (-1,-244.849), layer=58, texttype=0))
schottky_diode.add(gdstk.Label('SK.5 19x (Total)', (-70,-80.824), layer=58, texttype=0))
schottky_diode.add(gdstk.Label('SK.8 Schottky diode outside DNWELL is not allowed', (-1,-117.824), layer=58, texttype=0))
schottky_diode.add(gdstk.Label('2x', (-71.375,-124.699), layer=58, texttype=0))
schottky_diode.add(gdstk.Label('22x (Total)', (-71.375,-138.729), layer=58, texttype=0))
schottky_diode.add(gdstk.Label('SK.9 DNWELL overlap of schottky diode Anode COMP = 1.4', (-1,-131.854), layer=58, texttype=0))
schottky_diode.add(gdstk.Label('7x', (-71.375,-152.759), layer=58, texttype=0))
schottky_diode.add(gdstk.Label('SK.10 "Schottky_diode" space to PCOMP = 0.8', (-1,-145.884), layer=58, texttype=0))
schottky_diode.add(gdstk.Label('SK.11 "Schottky_diode" space to PCOMP = 0.9', (-1,-159.914), layer=58, texttype=0))
schottky_diode.add(gdstk.Label('7x', (-71.375,-166.789), layer=58, texttype=0))
schottky_diode.add(gdstk.Label('3x', (-71.375,-180.819), layer=58, texttype=0))
schottky_diode.add(gdstk.Label('SK.12 Poly2 intersect with Schottky_diode mark layer is not allowed', (-1,-173.944), layer=58, texttype=0))
schottky_diode.add(gdstk.Label('SK.14a 3x', (-71.375,-205.624), layer=58, texttype=0))
schottky_diode.add(gdstk.Label('SK.14a Two anode COMP area must be separated by cathode COMP in the anode width direction ', (-1,-200.819), layer=58, texttype=0))
schottky_diode.add(gdstk.Label('SK.13 Schottky_diode layer can exist both in LV area', (-1,-187.974), layer=58, texttype=0))
schottky_diode.add(gdstk.Label('Empty', (-71.375,-194.849), layer=58, texttype=0))
schottky_diode.add(gdstk.Label('(two anode comp can not exist side by side without having cathode COMP in between)', (-1,-202.574), layer=58, texttype=0))
schottky_diode.add(gdstk.Label('7x', (-71.375,-222.904), layer=58, texttype=0))
schottky_diode.add(gdstk.Label('SK.14b Cathode COMP length cannot be smaller than that of anode COMP length', (-1,-216.029), layer=58, texttype=0))
schottky_diode.add(gdstk.Label('6x', (-71.375,-236.934), layer=58, texttype=0))
schottky_diode.add(gdstk.Label('SK.15 Anode COMP to Nwell space = 0.16', (-1,-230.059), layer=58, texttype=0))
schottky_diode.add(gdstk.Label('SK.16 Min/Max schottky diode anode width (shorter dimension of schottky diode anode COMP) = 0.62um', (-1,-242.869), layer=58, texttype=0))
schottky_diode.add(gdstk.Label('2x', (-71.375,-250.964), layer=58, texttype=0))
schottky_diode.add(gdstk.Label('SK.17 Each anode must have cathode on both sides of anode width direction', (-1,-263.659), layer=58, texttype=0))
schottky_diode.add(gdstk.Label('SK.17 8x', (-71.375,-210.739), layer=58, texttype=0))

c_10_14_sk = lib.new_cell('10_14_SK')
R(c_10_14_sk, L249_250, [(-87.44,0,0,285.21)])
c_10_14_sk.add(gdstk.Reference(schottky_diode, (-1.5,283.71)))

lib.write_gds('10_14_SK.gds')
